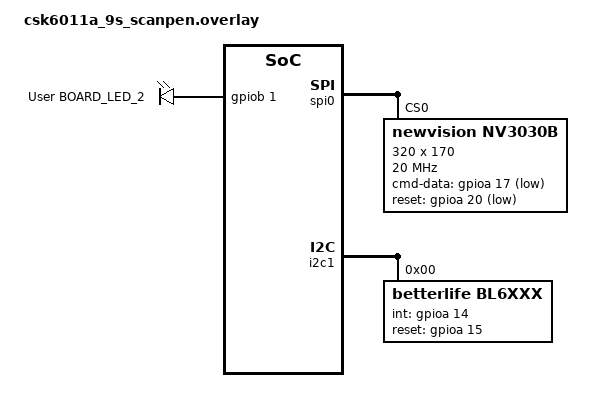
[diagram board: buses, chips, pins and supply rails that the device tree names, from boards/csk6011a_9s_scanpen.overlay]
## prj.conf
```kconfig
CONFIG_HEAP_MEM_POOL_SIZE=16384
CONFIG_MAIN_STACK_SIZE=2048

CONFIG_DISPLAY=y
CONFIG_DISPLAY_LOG_LEVEL_ERR=y

CONFIG_LOG=y
CONFIG_LOG_STRDUP_BUF_COUNT=16

CONFIG_LVGL=y
CONFIG_LVGL_USE_LABEL=y
CONFIG_LVGL_USE_CONT=y
CONFIG_LVGL_USE_BTN=y
CONFIG_LVGL_USE_THEME_MATERIAL=y


CONFIG_GPIO=y
CONFIG_SPI=y
CONFIG_NV3030B=y
#CONFIG_ST7789V=y

CONFIG_I2C=y
CONFIG_KSCAN_BL6XXX=y
```

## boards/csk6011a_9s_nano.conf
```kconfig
CONFIG_KSCAN=y
CONFIG_LVGL_POINTER_KSCAN_SWAP_XY=y
CONFIG_LVGL_POINTER_KSCAN=y
CONFIG_LVGL_POINTER_KSCAN_DEV_NAME="BL6XXX"

CONFIG_DISPLAY=y
CONFIG_LVGL_DISPLAY_DEV_NAME="ST7789V"
CONFIG_LVGL_HOR_RES_MAX=320
CONFIG_LVGL_VER_RES_MAX=170
CONFIG_LVGL_DPI=100
```

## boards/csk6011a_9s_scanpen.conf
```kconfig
CONFIG_KSCAN=y
CONFIG_LVGL_POINTER_KSCAN_SWAP_XY=y
CONFIG_LVGL_POINTER_KSCAN=y
CONFIG_LVGL_POINTER_KSCAN_DEV_NAME="BL6XXX"

CONFIG_DISPLAY=y
#CONFIG_LVGL_DISPLAY_DEV_NAME="ST7789V"
CONFIG_LVGL_DISPLAY_DEV_NAME="NV3030B"
CONFIG_LVGL_HOR_RES_MAX=320
CONFIG_LVGL_VER_RES_MAX=170
CONFIG_LVGL_DPI=100
```

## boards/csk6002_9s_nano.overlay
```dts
&csk6002_9s_nano_pinctrl{
                /* UART alternate function */
                pinctrl_uart0_rx_default: uart0_rx_default{
                        pinctrls = <&pinmuxb 10 2>;
                };
                
                pinctrl_uart0_tx_default: uart0_tx_default{
                        pinctrls = <&pinmuxb 11 2>;
                };
                
                pinctrl_i2c0_scl_default: i2c0_scl_default{
                        pinctrls = <&pinmuxb 2 8>;
                };
                
                pinctrl_i2c0_sda_default: i2c0_sda_default{
                        pinctrls = <&pinmuxb 3 8>;
                };    

                pinctrl_spi0_sclk_default: spi0_sclk_default {
                        pinctrls = < &pinmuxa 11 6 >;
                };
                pinctrl_spi0_mosi_default: spi0_mosi_default {
                        pinctrls = < &pinmuxa 10 6 >;
                };
                pinctrl_spi0_miso_default: spi0_miso_default {
                        pinctrls = < &pinmuxa 17 6 >;
                };
                pinctrl_spi0_cs_default: spi0_cs_default {
                        pinctrls = < &pinmuxa 12 6 >;
                }; 
};

&spi0 {
    status = "okay";
    pinctrl-0 = <&pinctrl_spi0_sclk_default &pinctrl_spi0_mosi_default &pinctrl_spi0_miso_default &pinctrl_spi0_cs_default>; 
    pinctrl-names = "default";
    
	st7789v@0 {
            compatible = "sitronix,st7789v";
            label = "ST7789V";
            status = "okay";
            spi-max-frequency = <20000000>;
            reg = <0>;
            cmd-data-gpios = <&gpioa 14 1>;
            reset-gpios = <&gpioa 15 1>;
            pinmuxs = <&pinmuxa 14 1>, <&pinmuxa 15 0>;
            width = <320>;
            height = <170>;
            x-offset = <0>;
            y-offset = <35>;
            // reg:0xBB
            vcom = <0x1e>;
            // reg:0xB7
            gctrl = <0x35>;
            // reg:0xC3
            vrhs = <0x0b>;
            // reg:0xC4
            vdvs = <0x20>;
            // reg:0x36
            mdac = <0xA3>;
            // reg:0x26
            gamma = <0x01>;
            // reg:0x3a
            colmod = <0x05>;
            // reg:0xc0
            lcm = <0x2c>;
            // reg:0xb2
            porch-param = [0c 0c 00 33 33];
            // reg:0xDF
            cmd2en-param = [5a 69 02 01];
            // reg:0xD0
            pwctrl1-param = [a4 a1];
            // reg:0xE0
            pvgam-param = [d0 06 0b 07 07 24 2e 32 46 37 13 13 2d 33];
            // reg:0xE1
            nvgam-param = [d0 02 06 09 08 05 29 44 42 38 14 14 2a 30];
            // reg:b0
            ram-param = [00 F0];
            // reg:b1
            rgb-param = [CD 08 14];
	};
};

&i2c0 {
        status = "okay";
        pinctrl-0 = <&pinctrl_i2c0_scl_default &pinctrl_i2c0_sda_default>; 
        pinctrl-names = "default";
        bl6xxx@0 {
                compatible = "betterlife,bl6xxx";
                reg = <0>;
                label = "BL6XXX";
                status = "okay";
                int-gpios = <&gpioa 3 0>;
                reset-gpios = <&gpioa 2 0>;
        };
};
```

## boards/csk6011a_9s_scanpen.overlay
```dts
/ {

	aliases {
		lcdbacklight0 = &board_led_2;
	};
	leds {
		compatible = "gpio-leds";
		board_led_2: board_led_2 {
				gpios = <&gpiob 1 0>;
				label = "User BOARD_LED_2";
		};
	 };
	
};



&csk6011a_9s_scanpen_pinctrl{
                /* UART alternate function */
                pinctrl_uart0_rx_default: uart0_rx_default{
                        pinctrls = <&pinmuxb 8 2>;
                        //pinctrls = <&pinmuxb 10 2>;

                };
                
                pinctrl_uart0_tx_default: uart0_tx_default{
                        pinctrls = <&pinmuxb 9 2>;
                        //pinctrls = <&pinmuxb 11 2>;

                };
                
                pinctrl_i2c1_scl_default: i2c1_scl_default{
                        pinctrls = <&pinmuxa 13 9>;
                        // pinctrls = <&pinmuxb 2 8>;
                };
                
                pinctrl_i2c1_sda_default: i2c1_sda_default{
                        pinctrls = <&pinmuxa 12 9>;
                        // pinctrls = <&pinmuxb 3 8>;
                };    

                pinctrl_spi0_sclk_default: spi0_sclk_default {
                        pinctrls = < &pinmuxa 19 6 >;
                        // pinctrls = < &pinmuxa 15 6 >;
                };
                pinctrl_spi0_mosi_default: spi0_mosi_default {
                        pinctrls = < &pinmuxa 18 6 >;
                        // pinctrls = < &pinmuxa 10 6 >;
                };
                pinctrl_spi0_miso_default: spi0_miso_default {
                        // pinctrls = < &pinmuxa 17 6 >;
                };
                pinctrl_spi0_cs_default: spi0_cs_default {
                        pinctrls = < &pinmuxa 16 6 >;
                        // pinctrls = < &pinmuxa 12 6 >;
                }; 
};

&spi0 {
        status = "okay";
        pinctrl-0 = <&pinctrl_spi0_sclk_default &pinctrl_spi0_mosi_default &pinctrl_spi0_cs_default>; 
        pinctrl-names = "default";

        //st7789v@0 {
        nv3030b@0 {
				//compatible = "sitronix,st7789v";
                //label = "ST7789V";
                compatible = "newvision,nv3030b";
                label = "NV3030B";
                status = "okay";
                spi-max-frequency = <20000000>;
                reg = <0>;
                cmd-data-gpios = <&gpioa 17 1>;
                // cmd-data-gpios = <&gpioa 14 1>;
                reset-gpios = <&gpioa 20 1>;
                // reset-gpios = <&gpiob 6 1>;
                width = <320>;
                height = <170>;
                x-offset = <0>;
                y-offset = <35>;
                // reg:0xBB
                vcom = <0x1e>;
                // reg:0xB7
                gctrl = <0x35>;
                // reg:0xC3
                vrhs = <0x0b>;
                // reg:0xC4
                vdvs = <0x20>;
                // reg:0x36
                mdac = <0xA3>;
                // reg:0x26
                gamma = <0x01>;
                // reg:0x3a
                colmod = <0x05>;
                // reg:0xc0
                lcm = <0x2c>;
                // reg:0xb2
                porch-param = [0c 0c 00 33 33];
                // reg:0xDF
                cmd2en-param = [5a 69 02 01];
                // reg:0xD0
                pwctrl1-param = [a4 a1];
                // reg:0xE0
                pvgam-param = [d0 06 0b 07 07 24 2e 32 46 37 13 13 2d 33];
                // reg:0xE1
                nvgam-param = [d0 02 06 09 08 05 29 44 42 38 14 14 2a 30];
                // reg:b0
                ram-param = [00 F0];
                // reg:b1
                rgb-param = [CD 08 14];
        };
};

&i2c1 {
        status = "okay";
        pinctrl-0 = <&pinctrl_i2c1_scl_default &pinctrl_i2c1_sda_default>; 
        pinctrl-names = "default";
        bl6xxx@0 {
                compatible = "betterlife,bl6xxx";
                reg = <0>;
                label = "BL6XXX";
                status = "okay";
                int-gpios = <&gpioa 14 0>;
                reset-gpios = <&gpioa 15 0>;
                // int-gpios = <&gpioa 3 0>;
                // reset-gpios = <&gpioa 2 0>;
        };
};
```

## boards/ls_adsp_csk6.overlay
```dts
&ls_adsp_csk6_pinctrl {
        pinctrl_uart2_tx_default: uart2_tx_default {
                pinctrls = <&pinmuxb 0x4 0x3>;
        };
};

&spi1 {
        status = "disabled";
};

&spi_fake {
        status = "okay";
        display: ili9341@0 {
                compatible = "ilitek,ili9341";
                status = "okay";
                label = "ILI9341";
                reg = <0>;

                rotation = <0>;
                pixel-format = <1>;
                reset-gpios = <&gpioa 8 1>;
                cmd-data-gpios = <&gpioa 9 1>;
                spi-max-frequency = <25000000>;
                pwctrla = [ 39 2c 00 34 02  ];
                pwctrlb = [ 00 c1 30  ];
                timctrla = [ 85 00 78  ];
                timctrlb = [ 00 00  ];
                pwseqctrl = [ 64 03 12 81  ];
                pwctrl1 = [ 1d  ];
                pwctrl2 = [ 12  ];
                vmctrl1 = [ 33 3f  ];
                vmctrl2 = [ 92  ];
                frmctr1 = [ 00 12  ];
                disctrl = [ 08 82 27  ];
                enable3g = [ 02  ];
                gamset = [ 01  ];
                pumpratioctrl = [ 10  ];
                pgamctrl = [ 0f 22 1c 1b 08 0f 48 b8 34 05 0c 09 0f 07 00  ];
                ngamctrl = [ 00 23 24 07 10 07 38 47 4b 0A 13 06 30 38 0f  ];
                etmod = [ 06  ];
        };
};
```

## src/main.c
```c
/*
 * Copyright (c) 2018 Jan Van Winkel <jan.van_winkel@dxplore.eu>
 *
 * SPDX-License-Identifier: Apache-2.0
 */

#include <device.h>
#include <drivers/display.h>
#include <lvgl.h>
#include <stdio.h>
#include <string.h>
#include <zephyr.h>
#include <drivers/pwm.h>
#include <drivers/pinmux.h>
#include <drivers/gpio.h>


#define LOG_LEVEL CONFIG_LOG_DEFAULT_LEVEL
#include <logging/log.h>
LOG_MODULE_REGISTER(app);



/* The devicetree node identifier for the "LCD0" alias. */
#define LCD0_NODE DT_ALIAS(lcdbacklight0)

#if DT_NODE_HAS_STATUS(LCD0_NODE, okay)
#define LCD0	DT_GPIO_LABEL(LCD0_NODE, gpios)
#define PIN	DT_GPIO_PIN(LCD0_NODE, gpios)
#define FLAGS	DT_GPIO_FLAGS(LCD0_NODE, gpios)
#else
/* A build error here means your board isn't set up to blink an LCD Backlight. */
#error "Unsupported board: LCD0 devicetree alias is not defined"
#define LCD0	""
#define PIN	0
#define FLAGS	0
#endif

void lcd_blanking_on()
{
	const struct device *dev;
	bool lcd_is_on = true;
	int ret;

	dev = device_get_binding(LCD0);
	if (dev == NULL) {
		return;
	}

	ret = gpio_pin_configure(dev, PIN, GPIO_OUTPUT_ACTIVE | FLAGS);
	if (ret < 0) {
		return;
	}
	// LCD背光低電平有效
	gpio_pin_set(dev, PIN, !(int)lcd_is_on);
}


void main(void)
{
	uint32_t count = 0U;
	char count_str[11] = {0};
	const struct device *display_dev;
	lv_obj_t *hello_world_label;
	lv_obj_t *count_label;

	#if DT_NODE_HAS_STATUS(LCD0_NODE, okay)
	lcd_blanking_on();
	#endif

	display_dev = device_get_binding(CONFIG_LVGL_DISPLAY_DEV_NAME);

	if (display_dev == NULL) {
		LOG_ERR("device not found.  Aborting test.");
		return;
	}

	if (IS_ENABLED(CONFIG_LVGL_POINTER_KSCAN)) {
		lv_obj_t *hello_world_button;

		hello_world_button = lv_btn_create(lv_scr_act(), NULL);
		lv_obj_align(hello_world_button, NULL, LV_ALIGN_CENTER, 0, 0);
		lv_btn_set_fit(hello_world_button, LV_FIT_TIGHT);
		hello_world_label = lv_label_create(hello_world_button, NULL);
	} else {
		hello_world_label = lv_label_create(lv_scr_act(), NULL);
	}

	lv_label_set_text(hello_world_label, "Hello world!");
	lv_obj_align(hello_world_label, NULL, LV_ALIGN_CENTER, 0, 0);

	count_label = lv_label_create(lv_scr_act(), NULL);
	lv_obj_align(count_label, NULL, LV_ALIGN_IN_BOTTOM_MID, 0, 0);

	lv_task_handler();
	display_blanking_off(display_dev);

	while (1) {
		if ((count % 100) == 0U) {
			sprintf(count_str, "%d", count/100U);
			lv_label_set_text(count_label, count_str);
		}
		lv_task_handler();
		k_sleep(K_MSEC(10));
		++count;
	}
}
```
